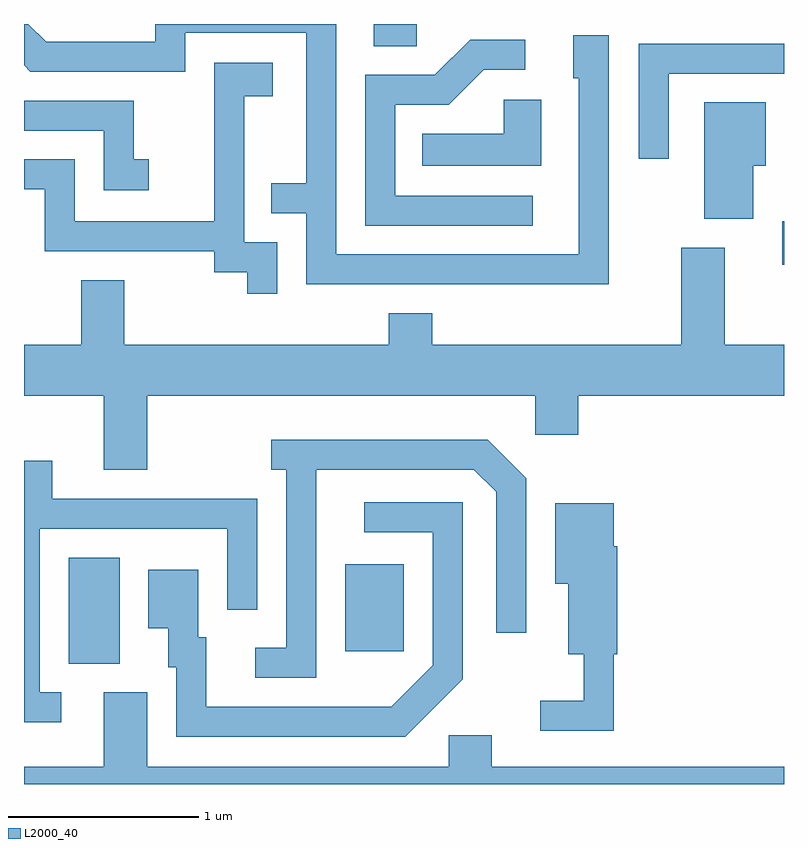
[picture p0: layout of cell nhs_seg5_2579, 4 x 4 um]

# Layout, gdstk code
import gdstk
lib = gdstk.Library(unit=1e-6, precision=1e-09)
def R(c, l, rs):  # rectangles x0, y0, x1, y1
    for r in rs: c.add(gdstk.rectangle(r[:2], r[2:], *l))
def P(c, l, *ps):  # polygons
    for p in ps: c.add(gdstk.Polygon(p, *l))
L2000_40 = (2000, 40)

nhs_seg5_2579 = lib.new_cell('nhs_seg5_2579')
R(nhs_seg5_2579, L2000_40, [(261.846,1468.706,262.114,1469.264), (263.301,1468.771,263.609,1469.229), (265.601,1470.806,265.611,1471.034), (263.451,1471.956,263.679,1472.072)])
P(nhs_seg5_2579, L2000_40, [(264.689,1472.014),(264.501,1472.014),(264.501,1471.786),(264.531,1471.786),(264.531,1470.859),(263.254,1470.859),(263.254,1472.072),(262.301,1472.072),(262.301,1471.979),(261.727,1471.979),(261.634,1472.072),(261.611,1472.072),(261.611,1471.854),(261.644,1471.821),(262.459,1471.821),(262.459,1472.026),(263.096,1472.026),(263.096,1471.234),(262.913,1471.234),(262.913,1471.076),(263.096,1471.076),(263.096,1470.701),(264.689,1470.701)],
  [(264.288,1471.169),(263.564,1471.169),(263.564,1471.646),(263.847,1471.646),(264.032,1471.831),(264.248,1471.831),(264.248,1471.989),(263.959,1471.989),(263.774,1471.804),(263.406,1471.804),(263.406,1471.011),(264.288,1471.011)],
  [(265.004,1471.811),(265.611,1471.811),(265.611,1471.969),(264.846,1471.969),(264.846,1471.363),(265.004,1471.363)],
  [(262.944,1470.924),(262.769,1470.924),(262.769,1471.691),(262.919,1471.691),(262.919,1471.869),(262.611,1471.869),(262.611,1471.034),(261.879,1471.034),(261.879,1471.359),(261.611,1471.359),(261.611,1471.201),(261.721,1471.201),(261.721,1470.876),(262.611,1470.876),(262.611,1470.766),(262.786,1470.766),(262.786,1470.653),(262.944,1470.653)],
  [(264.334,1471.674),(264.136,1471.674),(264.136,1471.494),(263.708,1471.494),(263.708,1471.326),(264.334,1471.326)],
  [(262.268,1471.359),(262.189,1471.359),(262.189,1471.669),(261.611,1471.669),(261.611,1471.511),(262.031,1471.511),(262.031,1471.196),(262.268,1471.196)],
  [(265.449,1471.326),(265.514,1471.326),(265.514,1471.659),(265.191,1471.659),(265.191,1471.046),(265.449,1471.046)],
  [(262.259,1470.116),(264.301,1470.116),(264.301,1469.911),(264.529,1469.911),(264.529,1470.116),(265.611,1470.116),(265.611,1470.384),(265.299,1470.384),(265.299,1470.894),(265.071,1470.894),(265.071,1470.384),(263.759,1470.384),(263.759,1470.549),(263.531,1470.549),(263.531,1470.384),(262.139,1470.384),(262.139,1470.724),(261.911,1470.724),(261.911,1470.384),(261.611,1470.384),(261.611,1470.116),(262.031,1470.116),(262.031,1469.726),(262.259,1469.726)],
  [(263.149,1469.726),(263.979,1469.726),(264.096,1469.609),(264.096,1468.868),(264.254,1468.868),(264.254,1469.682),(264.052,1469.884),(262.913,1469.884),(262.913,1469.726),(262.991,1469.726),(262.991,1468.789),(262.828,1468.789),(262.828,1468.631),(263.149,1468.631)],
  [(261.808,1468.554),(261.694,1468.554),(261.694,1469.416),(262.681,1469.416),(262.681,1468.988),(262.839,1468.988),(262.839,1469.574),(261.759,1469.574),(261.759,1469.774),(261.611,1469.774),(261.611,1468.396),(261.808,1468.396)],
  [(263.919,1468.624),(263.919,1469.554),(263.403,1469.554),(263.403,1469.396),(263.761,1469.396),(263.761,1468.697),(263.544,1468.479),(262.569,1468.479),(262.569,1468.844),(262.529,1468.844),(262.529,1469.199),(262.266,1469.199),(262.266,1468.891),(262.371,1468.891),(262.371,1468.686),(262.411,1468.686),(262.411,1468.321),(263.617,1468.321)],
  [(264.714,1468.756),(264.734,1468.756),(264.734,1469.324),(264.714,1469.324),(264.714,1469.549),(264.406,1469.549),(264.406,1469.126),(264.476,1469.126),(264.476,1468.756),(264.556,1468.756),(264.556,1468.509),(264.328,1468.509),(264.328,1468.351),(264.714,1468.351)],
  [(265.611,1468.164),(264.074,1468.164),(264.074,1468.329),(263.846,1468.329),(263.846,1468.164),(262.259,1468.164),(262.259,1468.554),(262.031,1468.554),(262.031,1468.164),(261.611,1468.164),(261.611,1468.072),(265.611,1468.072)])

lib.write_gds('nhs_seg5_2579.gds')
